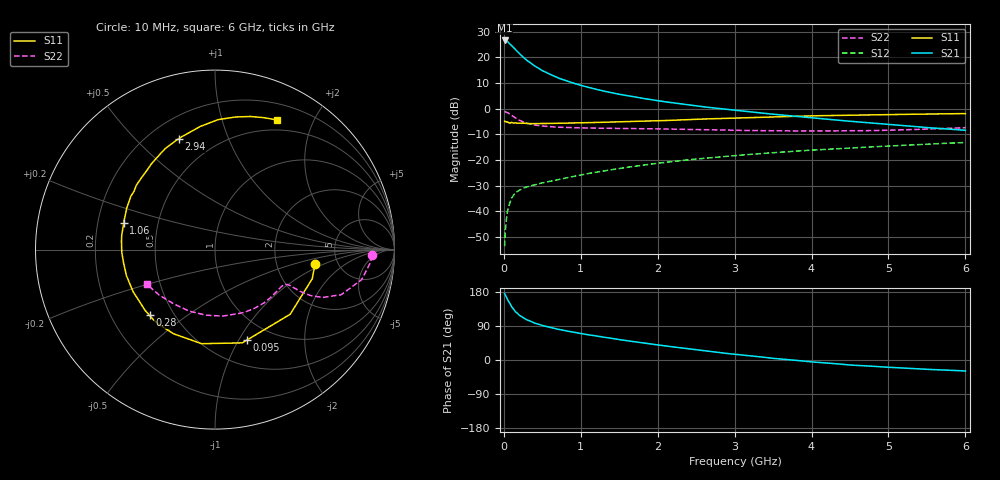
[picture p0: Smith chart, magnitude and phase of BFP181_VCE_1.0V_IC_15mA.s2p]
! Infineon Technologies  Discrete & RF Semiconductors
! BFP181
! VCE = 1.0 V,  IC =  15 mA
! Common Emitter S-Parameters:  Jan 2016
# GHz  S  MA  R  50
!  f  S11  S21  S12  S22
! GHz  MAG  ANG  MAG  ANG  MAG  ANG  MAG  ANG
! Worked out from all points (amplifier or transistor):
!   210 points, 10 MHz to 6 GHz, reference 50 ohm
!   highest |S21| = 26.5 dB at 10 MHz (marker M1)
!   |S21| within 3 dB of that: start of sweep to 133.7 MHz
!   unconditionally stable (mu >= 1): start of sweep to 19.34 MHz; 312.2 MHz to end of sweep
!   at 185 MHz: K = 0.70, MSG = 27.0 dB, |S12| = -32.1 dB
!   at 1.52 GHz: K = 2.05, MAG = 8.5 dB, |S12| = -23.2 dB
!   at 6 GHz: K = 1.74, MAG = -2.6 dB, |S12| = -13.2 dB
!   S11 on the Smith chart (normalised r, x): 10 MHz: 3.36, -0.81; 95 MHz: 0.77, -1.08; 280 MHz: 0.37, -0.37; 1.06 GHz: 0.31, +0.13; 2.94 GHz: 0.32, +0.68; 6 GHz: 0.38, +1.52
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0.01  0.563 -8.4  21.24 175.6  0.0021 77.4  0.8753 -2.1
0.02  0.5656 -16.7  21.16 171.4  0.0043 76.2  0.869 -4.8
0.05  0.5524 -40.7  20.08 158.3  0.0105 74.4  0.8339 -11.6
0.095  0.5344 -70.5  17.27 142.8  0.0172 58.5  0.7544 -18.8
0.1  0.5414 -73.7  17.05 140.8  0.018 57.5  0.7464 -19.7
0.15  0.5295 -98.1  14.2 127.6  0.0231 50.3  0.6597 -23.8
0.2  0.5227 -116.2  11.9 118.3  0.0256 47.6  0.5963 -25.6
0.24  0.5207 -126.4  10.41 112.8  0.0276 45.2  0.5603 -26.0
0.28  0.5168 -134.9  9.23 108.2  0.0292 43.6  0.532 -26.1
0.3  0.516 -138.9  8.693 105.9  0.0299 43.0  0.5191 -26.1
0.4  0.513 -152.9  6.776 97.3  0.0328 43.2  0.4792 -25.7
0.5  0.5144 -163.6  5.5 91.0  0.0359 43.7  0.4578 -25.6
0.7  0.5195 -178.2  3.981 81.3  0.0412 46.5  0.4359 -26.4
1.02  0.5278 165.6  2.788 69.2  0.0516 49.6  0.4216 -30.0
1.06  0.5297 163.9  2.69 67.9  0.0531 49.9  0.4206 -30.5
1.5  0.5548 147.8  1.904 53.9  0.0682 51.0  0.4118 -37.5
2.02  0.5803 131.3  1.41 39.3  0.087 49.7  0.403 -47.5
2.94  0.6499 108.1  0.953 16.4  0.1193 44.2  0.3809 -68.6
3.1  0.6603 104.6  0.898 13.2  0.1249 43.1  0.3763 -72.7
4.1  0.7281 87.1  0.644 -6.4  0.1586 35.0  0.3674 -100.9
5.1  0.7702 74.0  0.48 -20.2  0.1902 26.6  0.3823 -130.1
6  0.8007 64.5  0.379 -29.0  0.2189 18.2  0.4262 -153.0
